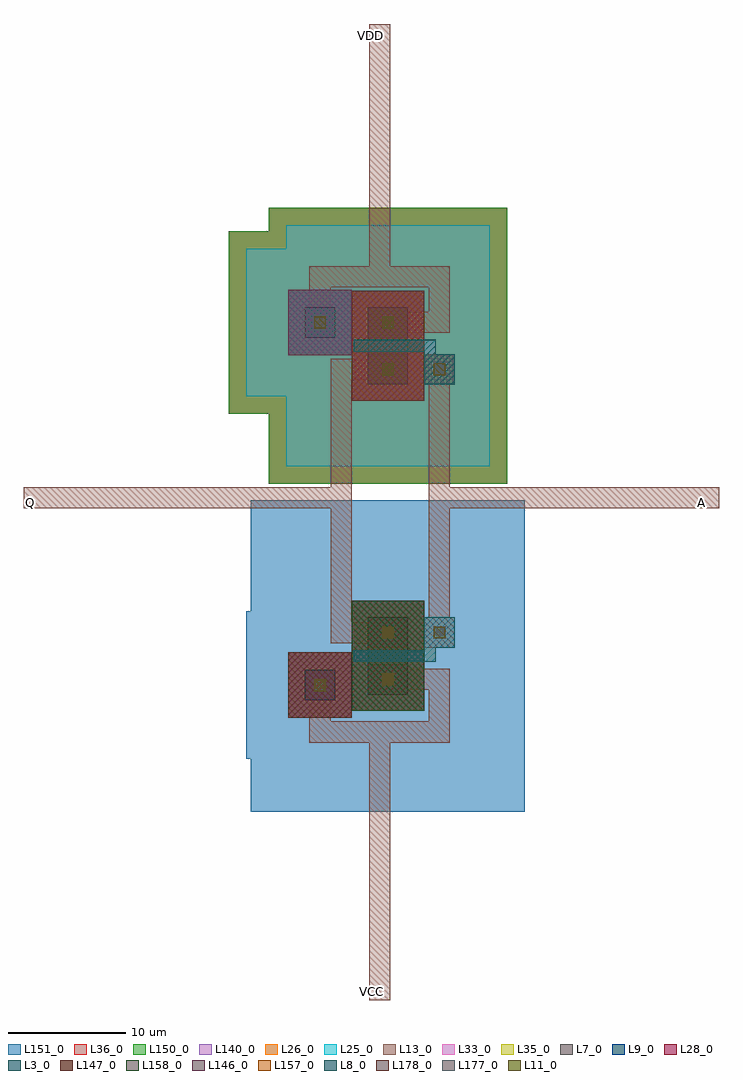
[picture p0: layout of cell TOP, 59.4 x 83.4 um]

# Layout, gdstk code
from math import pi, radians
import gdstk
lib = gdstk.Library(unit=1e-6, precision=1e-07)
def R(c, l, rs):  # rectangles x0, y0, x1, y1
    for r in rs: c.add(gdstk.rectangle(r[:2], r[2:], *l))
L3_0 = (3, 0)
L7_0 = (7, 0)
L8_0 = (8, 0)
L9_0 = (9, 0)
L11_0 = (11, 0)
L13_0 = (13, 0)
L25_0 = (25, 0)
L26_0 = (26, 0)
L28_0 = (28, 0)
L33_0 = (33, 0)
L35_0 = (35, 0)
L36_0 = (36, 0)
L140_0 = (140, 0)
L146_0 = (146, 0)
L147_0 = (147, 0)
L150_0 = (150, 0)
L151_0 = (151, 0)
L157_0 = (157, 0)
L158_0 = (158, 0)
L177_0 = (177, 0)
L178_0 = (178, 0)

dcont = lib.new_cell('dcont')
R(dcont, L3_0, [(-1.3,-1.3,1.3,1.3)])
R(dcont, L11_0, [(-0.5,-0.5,0.5,0.5)])
R(dcont, L13_0, [(-1.3,-1.3,1.3,1.3), (-0.5,-0.5,0.5,0.5)])

pcont = lib.new_cell('pcont')
R(pcont, L8_0, [(-1.3,-1.3,1.3,1.3)])
R(pcont, L11_0, [(-0.5,-0.5,0.5,0.5)])
R(pcont, L13_0, [(-1.3,-1.3,1.3,1.3), (-0.5,-0.5,0.5,0.5)])

c_dcont = lib.new_cell('DCONT')
R(c_dcont, L3_0, [(-1.3,-1.3,1.3,1.3)])
R(c_dcont, L11_0, [(-0.5,-0.5,0.5,0.5)])
R(c_dcont, L13_0, [(-1.3,-1.3,1.3,1.3), (-0.5,-0.5,0.5,0.5)])

psubcont = lib.new_cell('psubcont')
R(psubcont, L7_0, [(-2.8,-2.7,2.8,2.7)])
R(psubcont, L28_0, [(-2.8,-2.7,2.8,2.7)])
R(psubcont, L33_0, [(-2.8,-2.7,2.8,2.7)])
R(psubcont, L35_0, [(-2.8,-2.7,2.8,2.7)])
R(psubcont, L151_0, [(-6.3,-6.3,6.3,6.3)])
R(psubcont, L178_0, [(-2.8,-2.7,2.8,2.7)])
psubcont.add(gdstk.Reference(c_dcont, (0,0)))

c_mn = lib.new_cell('MN')
R(c_mn, L3_0, [(0,3.6,6.6,7)])
R(c_mn, L9_0, [(-1.4,2.2,8,8.4)])
R(c_mn, L33_0, [(-1.4,2.2,8,8.4)])
R(c_mn, L35_0, [(-1.4,2.2,8,8.4)])
R(c_mn, L147_0, [(-1.4,2.2,8,8.4)])
R(c_mn, L151_0, [(-10,-6.4,16.6,17)])
R(c_mn, L158_0, [(-1.4,2.2,8,8.4)])
c_mn.add(gdstk.FlexPath([(3.3,3.6),(3.3,7)], 1, ends=(1.2, 1.2), simple_path=True, layer=8, datatype=0))  # L8_0
c_mn.add(gdstk.FlexPath([(1.3,8.9),(3.3,8.9),(3.3,8.2)], 1, ends="flush", simple_path=True, layer=8, datatype=0))  # L8_0
c_mn.add(gdstk.FlexPath([(1.3,3.6),(1.3,7)], 2.6, ends="flush", simple_path=True, layer=13, datatype=0))  # L13_0
c_mn.add(gdstk.FlexPath([(5.3,3.6),(5.3,7)], 2.6, ends="flush", simple_path=True, layer=13, datatype=0))  # L13_0
c_mn.add(gdstk.FlexPath([(1.3,1.3),(1.3,4.6)], 1.8, ends="flush", simple_path=True, layer=13, datatype=0))  # L13_0
c_mn.add(gdstk.FlexPath([(5.3,6),(5.3,9.3)], 1.8, ends="flush", simple_path=True, layer=13, datatype=0))  # L13_0
c_mn.add(gdstk.Reference(dcont, (1.3,5.3)))
c_mn.add(gdstk.Reference(dcont, (5.3,5.3)))
c_mn.add(gdstk.Reference(pcont, (1.3,9.7)))
c_mn.add(gdstk.Reference(psubcont, (5.8,-0.5)))

nsubcont = lib.new_cell('nsubcont')
R(nsubcont, L7_0, [(-2.8,-2.7,2.8,2.7)])
R(nsubcont, L9_0, [(-2.8,-2.7,2.8,2.7)])
R(nsubcont, L25_0, [(-6.3,-6.3,6.3,6.3)])
R(nsubcont, L26_0, [(-6.3,-6.3,6.3,6.3)])
R(nsubcont, L33_0, [(-2.8,-2.7,2.8,2.7)])
R(nsubcont, L35_0, [(-2.8,-2.7,2.8,2.7)])
R(nsubcont, L36_0, [(-7.8,-7.8,7.8,7.8)])
R(nsubcont, L140_0, [(-6.3,-6.3,6.3,6.3)])
R(nsubcont, L150_0, [(-7.8,-7.8,7.8,7.8)])
R(nsubcont, L177_0, [(-2.8,-2.7,2.8,2.7)])
nsubcont.add(gdstk.Reference(c_dcont, (0,0)))

mp_1 = lib.new_cell('MP$1')
R(mp_1, L3_0, [(0,3.6,6.6,7)])
R(mp_1, L7_0, [(-1.4,2.2,8,8.4)])
R(mp_1, L25_0, [(-7,-3.4,13.6,14)])
R(mp_1, L26_0, [(-7,-3.4,13.6,14)])
R(mp_1, L28_0, [(-1.4,2.2,8,8.4)])
R(mp_1, L33_0, [(-1.4,2.2,8,8.4)])
R(mp_1, L36_0, [(-8.5,-4.9,15.1,15.5)])
R(mp_1, L140_0, [(-7,-3.4,13.6,14)])
R(mp_1, L146_0, [(-1.4,2.2,8,8.4)])
R(mp_1, L150_0, [(-8.5,-4.9,15.1,15.5)])
R(mp_1, L157_0, [(-1.4,2.2,8,8.4)])
mp_1.add(gdstk.FlexPath([(3.3,3.6),(3.3,7)], 1, ends=(1.2, 1.2), simple_path=True, layer=8, datatype=0))  # L8_0
mp_1.add(gdstk.FlexPath([(1.3,1.7),(3.3,1.7),(3.3,2.4)], 1, ends="flush", simple_path=True, layer=8, datatype=0))  # L8_0
mp_1.add(gdstk.FlexPath([(1.3,3.6),(1.3,7)], 2.6, ends="flush", simple_path=True, layer=13, datatype=0))  # L13_0
mp_1.add(gdstk.FlexPath([(5.3,3.6),(5.3,7)], 2.6, ends="flush", simple_path=True, layer=13, datatype=0))  # L13_0
mp_1.add(gdstk.FlexPath([(1.3,6),(1.3,9.3)], 1.8, ends="flush", simple_path=True, layer=13, datatype=0))  # L13_0
mp_1.add(gdstk.FlexPath([(5.3,1.3),(5.3,4.6)], 1.8, ends="flush", simple_path=True, layer=13, datatype=0))  # L13_0
mp_1.add(gdstk.Reference(dcont, (1.3,5.3)))
mp_1.add(gdstk.Reference(dcont, (5.3,5.3)))
mp_1.add(gdstk.Reference(pcont, (1.3,0.9)))
mp_1.add(gdstk.Reference(nsubcont, (5.3,11.1)))

top = lib.new_cell('TOP')
top.add(gdstk.FlexPath([(20.1,-15),(20.1,-37.5),(20.1,-37.6)], 1.8, ends="flush", simple_path=True, layer=13, datatype=0))  # L13_0
top.add(gdstk.FlexPath([(9.9,-42),(9.9,-46),(20.1,-46),(20.1,-40.6)], 1.8, ends="flush", simple_path=True, layer=13, datatype=0))  # L13_0
top.add(gdstk.FlexPath([(9.9,-11),(9.9,-7.5),(9.9,-7.2),(9.9,-7.1),(19.4,-7.1),(19.8,-7.1),(20,-7.1),(20.1,-7.1),(20.1,-11.9)], 1.8, ends="flush", simple_path=True, layer=13, datatype=0))  # L13_0
top.add(gdstk.FlexPath([(11.7,-14.1),(11.7,-38.4),(11.7,-38.4)], 1.8, ends="flush", simple_path=True, layer=13, datatype=0))  # L13_0
top.add(gdstk.FlexPath([(20.1,-26),(33.5,-26),(33.5,-26)], 1.8, ends="flush", simple_path=True, layer=13, datatype=0))  # L13_0
top.add(gdstk.FlexPath([(11.7,-26),(-3,-26)], 1.8, ends="flush", simple_path=True, layer=13, datatype=0))  # L13_0
top.add(gdstk.FlexPath([(15,-7.1),(15,14.3),(15,14.5)], 1.8, ends="flush", simple_path=True, layer=13, datatype=0))  # L13_0
top.add(gdstk.FlexPath([(15,-46),(15,-68.9)], 1.8, ends="flush", simple_path=True, layer=13, datatype=0))  # L13_0
top.add(gdstk.FlexPath([(33.5,-26),(44,-26)], 1.8, ends="flush", simple_path=True, layer=13, datatype=0))  # L13_0
top.add(gdstk.FlexPath([(-3,-26),(-14.7,-26),(-15.4,-26)], 1.8, ends="flush", simple_path=True, layer=13, datatype=0))  # L13_0
top.add(gdstk.Reference(c_mn, (10.4,-36.2), rotation=3*pi/2))
top.add(gdstk.Reference(mp_1, (21,-16.3), rotation=pi/2))
top.add(gdstk.Label('A', (42.5,-26.4), layer=13, texttype=0))
top.add(gdstk.Label('Q', (-14.8,-26.4), layer=13, texttype=0))
top.add(gdstk.Label('VDD', (14.2,13.5), layer=13, texttype=0))
top.add(gdstk.Label('VCC', (14.3,-68.2), layer=13, texttype=0))

lib.write_gds('TOP.gds')
